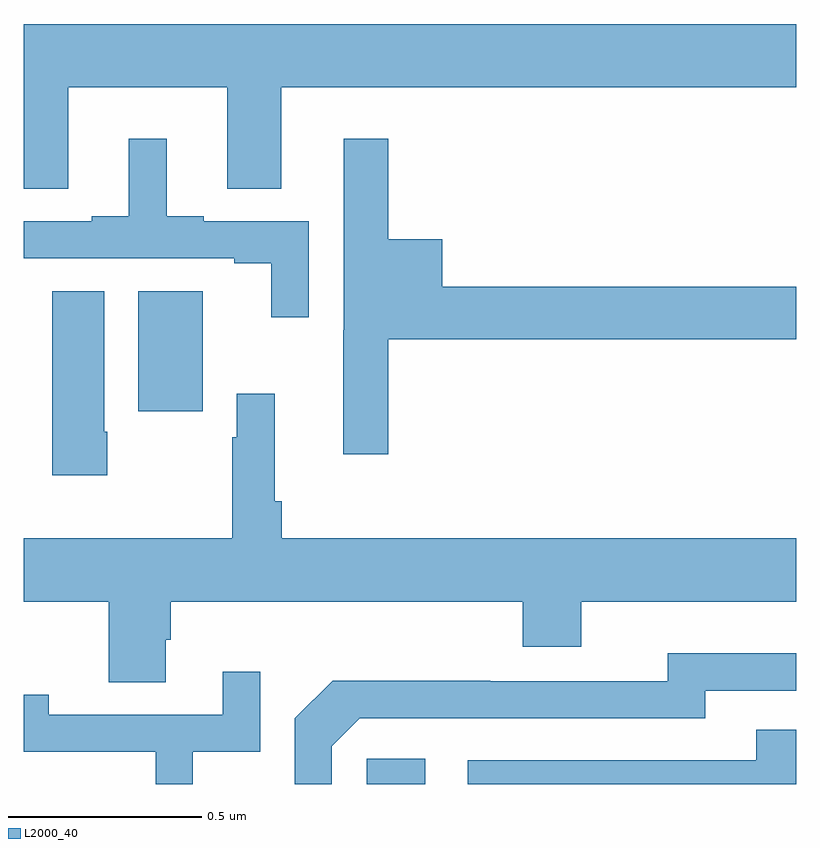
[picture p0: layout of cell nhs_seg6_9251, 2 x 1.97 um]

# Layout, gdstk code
import gdstk
lib = gdstk.Library(unit=1e-6, precision=1e-09)
def R(c, l, rs):  # rectangles x0, y0, x1, y1
    for r in rs: c.add(gdstk.rectangle(r[:2], r[2:], *l))
def P(c, l, *ps):  # polygons
    for p in ps: c.add(gdstk.Polygon(p, *l))
L2000_40 = (2000, 40)

nhs_seg6_9251 = lib.new_cell('nhs_seg6_9251')
R(nhs_seg6_9251, L2000_40, [(231.888,977.5,232.039,977.566), (231.296,978.465,231.463,978.776)])
P(nhs_seg6_9251, L2000_40, [(231.115,979.304),(231.527,979.304),(231.527,979.042),(231.667,979.042),(231.667,979.304),(233,979.304),(233,979.468),(231,979.468),(231,979.042),(231.115,979.042)],
  [(231.944,978.652),(233,978.652),(233,978.788),(232.084,978.788),(232.084,978.91),(231.944,978.91),(231.944,979.171),(231.828,979.171),(231.828,978.675),(231.827,978.675),(231.827,978.354),(231.944,978.354)],
  [(231.738,978.957),(231.466,978.957),(231.466,978.97),(231.37,978.97),(231.37,979.171),(231.272,979.171),(231.272,978.97),(231.176,978.97),(231.176,978.957),(231,978.957),(231,978.861),(231.545,978.861),(231.545,978.849),(231.641,978.849),(231.641,978.708),(231.738,978.708)],
  [(231.216,978.412),(231.208,978.412),(231.208,978.776),(231.074,978.776),(231.074,978.3),(231.216,978.3)],
  [(231.367,977.874),(231.38,977.874),(231.38,977.972),(232.292,977.972),(232.292,977.855),(232.444,977.855),(232.444,977.972),(233,977.972),(233,978.136),(231.668,978.136),(231.668,978.232),(231.65,978.232),(231.65,978.511),(231.552,978.511),(231.552,978.398),(231.54,978.398),(231.54,978.136),(231,978.136),(231,977.972),(231.22,977.972),(231.22,977.764),(231.367,977.764)],
  [(231.798,977.598),(231.87,977.67),(232.764,977.67),(232.764,977.742),(233,977.742),(233,977.839),(232.668,977.839),(232.668,977.766),(232.208,977.766),(232.208,977.768),(231.8,977.768),(231.702,977.67),(231.702,977.5),(231.798,977.5)],
  [(231.438,977.583),(231.612,977.583),(231.612,977.791),(231.515,977.791),(231.515,977.679),(231.064,977.679),(231.064,977.731),(231,977.731),(231,977.583),(231.342,977.583),(231.342,977.5),(231.438,977.5)],
  [(233,977.641),(232.897,977.641),(232.897,977.562),(232.149,977.562),(232.149,977.5),(233,977.5)])

lib.write_gds('nhs_seg6_9251.gds')
